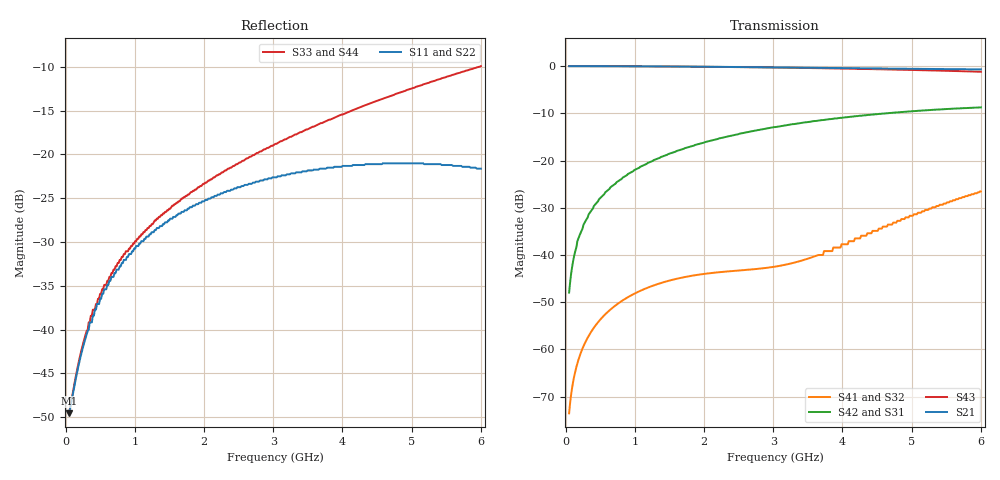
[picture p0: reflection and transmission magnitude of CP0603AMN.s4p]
!	AVX THIN FILM OPERATION
!	CP0603 HIGH DIRECTIVITY COUPLERS
!	P/N CP0603AxxxxMLTR
!	Network	Analyzer HP8720ES.07.64:Feb23,2000 Serial No.US39172382
!	Hewlett-Packard
!	24 July 2003	02:45:57
# MHZ S MA R 50
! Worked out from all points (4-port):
!   400 points, 50 MHz to 6 GHz, reference 50 ohm
!   strongest paths, dB at 50 MHz, 1.541 GHz, 3.032 GHz, 4.524 GHz, 6 GHz:
!     S21: 0.0, -0.1, -0.3, -0.5, -0.7
!     S43: 0.0, -0.1, -0.3, -0.7, -1.2
!     S42: -48.0, -18.3, -12.9, -10.1, -8.8
!     S31: -48.0, -18.3, -12.9, -10.1, -8.8
!     S41: -73.5, -45.3, -42.4, -34.4, -26.6
!     S32: -73.5, -45.3, -42.4, -34.4, -26.6
!   lowest |S11| = -49.6 dB at 50 MHz (marker M1), VSWR 1.01, Z = 50.3 - j0.151 ohm
!   |S11| at or under -10 dB: start of sweep to end of sweep
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50  0.00333 -26.7  0.997 -0.5  0.003998 89.4  0.000211 88.9
    0.997 -0.5  0.00333 -26.7  0.000211 88.9  0.003998 89.4
    0.003998 89.4  0.000211 88.9  0.003361 26.7  0.997 -0.6
    0.000211 88.9  0.003998 89.4  0.997 -0.6  0.003361 26.7
169.298  0.005803 -60.8  0.997 -1.6  0.014 88.1  0.000713 87.6
         0.997 -1.6  0.005803 -60.8  0.000713 87.6  0.014 88.1
         0.014 88.1  0.000713 87.6  0.00601 58.3  0.997 -2.1
         0.000713 87.6  0.014 88.1  0.997 -2.1  0.00601 58.3
378.07  0.011 -78.8  0.996 -3.5  0.03 85.9  0.001579 85.4
        0.996 -3.5  0.011 -78.8  0.001579 85.4  0.03 85.9
        0.03 85.9  0.001579 85.4  0.012 71.3  0.996 -4.8
        0.001579 85.4  0.03 85.9  0.996 -4.8  0.012 71.3
661.404  0.02 -87.9  0.995 -6.1  0.053 82.8  0.002702 82.6
         0.995 -6.1  0.02 -87.9  0.002702 82.6  0.053 82.8
         0.053 82.8  0.002702 82.6  0.021 74.0  0.995 -8.3
         0.002702 82.6  0.053 82.8  0.995 -8.3  0.021 74.0
1272.807  0.036 -97.9  0.991 -11.6  0.101 76.2  0.004767 77.7
          0.991 -11.6  0.036 -97.9  0.004767 77.7  0.101 76.2
          0.101 76.2  0.004767 77.7  0.041 70.6  0.991 -16.1
          0.004767 77.7  0.101 76.2  0.991 -16.1  0.041 70.6
3718.421  0.083 -122.2  0.956 -33.1  0.268 50.0  0.01 111.4
          0.956 -33.1  0.083 -122.2  0.01 111.4  0.268 50.0
          0.268 50.0  0.01 111.4  0.152 42.5  0.948 -47.1
          0.01 111.4  0.268 50.0  0.948 -47.1  0.152 42.5
6000  0.083 -141.1  0.922 -51.8  0.365 25.9  0.047 111.0
      0.922 -51.8  0.083 -141.1  0.047 111.0  0.365 25.9
      0.365 25.9  0.047 111.0  0.319 12.9  0.87 -77.0
      0.047 111.0  0.365 25.9  0.87 -77.0  0.319 12.9
